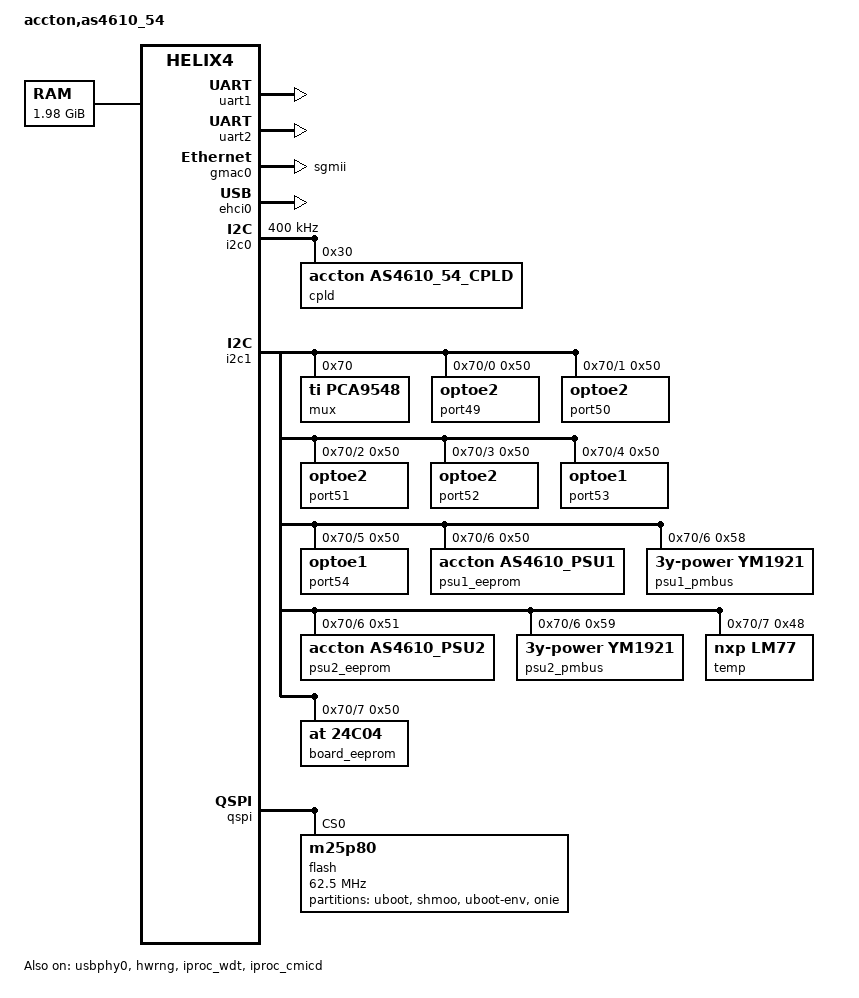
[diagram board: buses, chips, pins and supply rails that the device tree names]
/*
 * Accton AS4610 54 Device Tree Source
 *
 * Copyright 2015, Cumulus Networks, Inc.
 *
 * This program is free software; you can redistribute  it and/or modify it
 * under  the terms of  the GNU General  Public License as published by the
 * Free Software Foundation;  either version 2 of the  License, or (at your
 * option) any later version.
 *
 */
/dts-v1/;
#include "dts/bcm-helix4.dtsi"

/ {
    model = "accton,as4610_54";
    compatible = "accton,as4610_54","brcm,helix4";

    aliases {
        serial0 = &uart1;
        serial1 = &uart2;
        ethernet0 = &gmac0;
        i2c-controller0 = &i2c0;
        i2c-controller1 = &i2c1;
    };
/*
    chosen {
	bootargs = "console=ttyS0,115200n8 maxcpus=2 mem=2000M";
    };
*/
    memory {
        reg = <0x61000000 0x7f000000>;
    };
};

&uart1 {
	status = "okay";
};

&uart2 {
	status = "okay";
};

&gmac0 {
	status = "okay";
	phy-mode = "sgmii"; /* "gmii-id", "gmii-rxid", "sgmii" */
};

&usbphy0 {
    status = "okay";
    usb-phy-mode = "host"; /* "host", "device" */
/*	mdio-phy-handle = <&usb_phy>;
*/
};

&ehci0 {
	status = "okay";
};

&gpio_cca {
       status = "okay";
};

&i2c0 {
	status = "okay";
        clock-frequency = <400000>;
        cpld@30 {
        #address-cells = <1>;
        #size-cells = <1>;
        compatible = "accton,as4610_54_cpld";
        label = "cpld";
        reg = <0x30>;
    };
};

&i2c1 {
	status = "okay";
        mux@70 {
            compatible = "ti,pca9548";
            reg = <0x70>;
            #address-cells = <1>;
            #size-cells = <0>;
            i2c-mux-idle-disconnect;

        // SFP+ 1
        i2c@0 {
            #address-cells = <1>;
            #size-cells = <0>;
            reg = <0>;
            optoe@50 {
                compatible = "optoe2";
                reg = <0x50>;
                label = "port49";
            };
        };

        // SFP+ 2
        i2c@1 {
            #address-cells = <1>;
            #size-cells = <0>;
            reg = <1>;
            optoe@50 {
                compatible = "optoe2";
                reg = <0x50>;
                label = "port50";
            };
        };

        // SFP+ 3
        i2c@2 {
            #address-cells = <1>;
            #size-cells = <0>;
            reg = <2>;
            optoe@50 {
                compatible = "optoe2";
                reg = <0x50>;
                label = "port51";
            };
        };

        // SFP+ 4
        i2c@3 {
            #address-cells = <1>;
            #size-cells = <0>;
            reg = <3>;
            optoe@50 {
                compatible = "optoe2";
                reg = <0x50>;
                label = "port52";
            };
        };

        // QSFP+ STK1
        i2c@4 {
            #address-cells = <1>;
            #size-cells = <0>;
            reg = <4>;
            optoe@50 {
                compatible = "optoe1";
                reg = <0x50>;
                label = "port53";
            };
        };

        // QSFP+ STK2
        i2c@5 {
            #address-cells = <1>;
            #size-cells = <0>;
            reg = <5>;
            optoe@50 {
                compatible = "optoe1";
                reg = <0x50>;
                label = "port54";
            };
        };

        // PSU EEPROM
        i2c@6 {
            #address-cells = <1>;
            #size-cells = <0>;
            reg = <6>;
            psu1_eeprom@50 {
                compatible = "accton,as4610_psu1";
                reg = <0x50>;
            };
            psu1_pmbus@58 {
                compatible = "3y-power,ym1921";
                reg = <0x58>;
            };
            psu2_eeprom@51 {
                compatible = "accton,as4610_psu2";
                reg = <0x51>;
            };
            psu2_pmbus@59 {
                compatible = "3y-power,ym1921";
                reg = <0x59>;
            };
        };

        i2c@7 {
            #address-cells = <1>;
            #size-cells = <0>;
            reg = <7>;

            temp@48 {
                compatible = "nxp,lm77";
                reg = <0x48>;
            };

            rtc@68 {
                /* Actually M41T11. DISABLED on the 4.19 port: the dead battery
                 * makes this read back 2001, so the 4.19 RTC core perpetually
                 * re-arms an already-expired alarm via rtc_timer_do_work ->
                 * ds1307_get_time, each pass a MUXED i2c read that holds the i2c1
                 * xfer_lock and starves onlpd -> boot wedges before sshd/getty
                 * (kernel stays alive + pings, userspace hangs). 4.14 tolerated it
                 * because Edgecore had commented out the per-xfer msleep(1) in
                 * xgs_iproc_smbus; the 4.19 forward-port re-added it, slowing each
                 * muxed read enough to tip the re-arm burst into a lock-starving
                 * wedge. NTP sets the clock, so losing the RTC costs nothing.
                 * See docs/KERNEL_419_PORT.md. */
                compatible = "dallas,ds1307";
                reg = <0x68>;
                status = "disabled";
            };

            board_eeprom@50 {
                compatible = "at,24c04";
                reg = <0x50>;
                label = "board_eeprom";
            };
        };
    };
};

&hwrng {
	status = "okay";
};

&iproc_wdt {
	status = "okay";
};

&dmac0 {
	status = "okay";
};

&iproc_cmicd {
	status = "okay";
};

&qspi {
    status = "okay";
    flash: m25p80@0 {
        #address-cells = <1>;
        #size-cells = <1>;
        compatible = "m25p80";
        m25p,fast-read = <1>;
        spi-max-frequency = <62500000>;
        reg = <0x0>;
        partition@0 {
            label = "uboot";
            reg = <0x00000000 0x000e0000>;
            /*read-only;*/
        };
        partition@1 {
            label = "shmoo";
            reg = <0x000e0000 0x00010000>;
        };
        partition@2 {
            label = "uboot-env";
            reg = <0x000f0000 0x00010000>;
        };
        partition@3 {
            label = "onie";
            reg = <0x00100000 0x00700000>;
        };
    };
};
